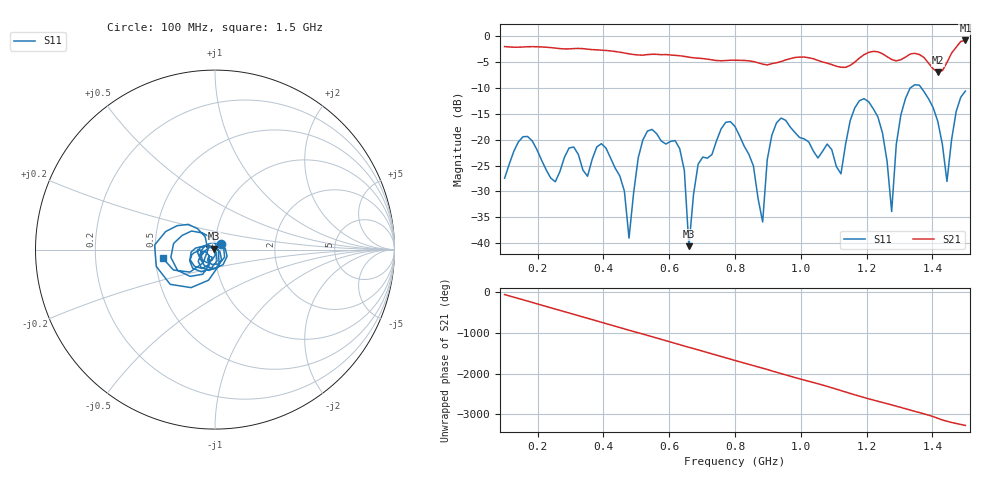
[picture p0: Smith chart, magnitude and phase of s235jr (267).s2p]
! NanoVNA-App
! Date: 2025-09-25 15:06:14
! Start: 100MHz Stop: 1,5GHz Points: 101
! S-Parameter data: F S11 S21 S12 S22
# Hz S RI R 50
!  Frequency  S11_Real  S11_Imag  S21_Real  S21_Imag  S12_Real  S12_Imag  S22_Real  S22_Imag
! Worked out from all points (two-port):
!   101 points, 100 MHz to 1.5 GHz, reference 50 ohm
!   highest |S21| = -0.78 dB at 1.5 GHz (marker M1); lowest = -6.9 dB at 1.416 GHz (marker M2)
!   |S21| within 3 dB of the highest: start of sweep to 636.5 MHz; 1.187 GHz to 1.259 GHz (71.78 MHz wide, 5.87 % of centre) (the widest 2 of 4)
!   lowest |S11| = -40.6 dB at 660 MHz (marker M3), VSWR 1.02, Z = 49.3 + j0.565 ohm
!   |S11| at or under -10 dB: start of sweep to 1.332 GHz; 1.366 GHz to end of sweep
!   S12 and S22 are empty: the file has one direction only
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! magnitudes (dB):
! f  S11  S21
! 100 MHz  -27.5  -2.0
! 156 MHz  -19.4  -2.0
! 338 MHz  -25.9  -2.4
! 408 MHz  -21.6  -2.7
! 478 MHz  -39.1  -3.4
! 520 MHz  -20.1  -3.6
! 576 MHz  -20.3  -3.5
! 632 MHz  -21.7  -3.7
! 660 MHz  -40.6  -4.0
! 688 MHz  -24.7  -4.2
! 800 MHz  -17.5  -4.6
! 884 MHz  -35.9  -5.4
! 926 MHz  -16.8  -5.1
! 1.038 GHz  -22.2  -4.3
! 1.122 GHz  -26.6  -6.0
! 1.206 GHz  -12.6  -3.1
! 1.276 GHz  -33.9  -4.5
! 1.29 GHz  -20.9  -4.7
! 1.332 GHz  -10.0  -3.4
! 1.416 GHz  -16.4  -6.9
! 1.444 GHz  -28.1  -5.0
! 1.5 GHz  -10.6  -0.8
